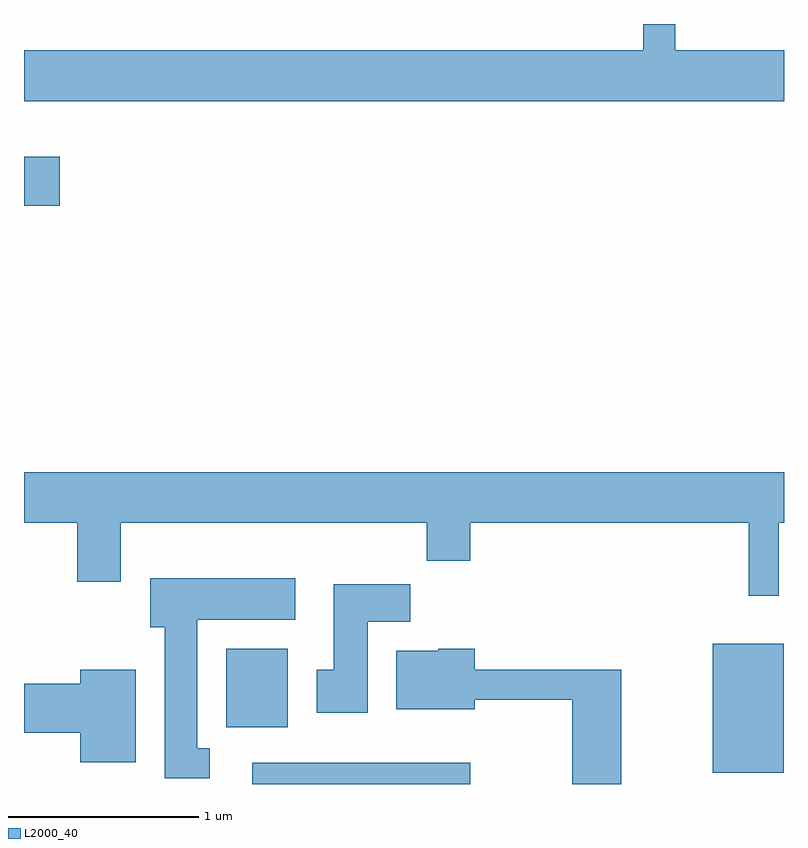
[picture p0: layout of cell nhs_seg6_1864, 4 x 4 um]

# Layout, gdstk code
import gdstk
lib = gdstk.Library(unit=1e-6, precision=1e-09)
def R(c, l, rs):  # rectangles x0, y0, x1, y1
    for r in rs: c.add(gdstk.rectangle(r[:2], r[2:], *l))
def P(c, l, *ps):  # polygons
    for p in ps: c.add(gdstk.Polygon(p, *l))
L2000_40 = (2000, 40)

nhs_seg6_1864 = lib.new_cell('nhs_seg6_1864')
R(nhs_seg6_1864, L2000_40, [(242.811,1604.162,243.959,1604.274), (245.236,1604.221,245.609,1604.899), (242.676,1604.461,242.999,1604.874), (241.611,1607.206,241.799,1607.464)])
P(nhs_seg6_1864, L2000_40, [(245.611,1608.024),(245.039,1608.024),(245.039,1608.162),(244.871,1608.162),(244.871,1608.024),(241.611,1608.024),(241.611,1607.756),(245.611,1607.756)],
  [(241.611,1605.536),(241.891,1605.536),(241.891,1605.226),(242.119,1605.226),(242.119,1605.536),(243.731,1605.536),(243.731,1605.336),(243.959,1605.336),(243.959,1605.536),(245.426,1605.536),(245.426,1605.153),(245.584,1605.153),(245.584,1605.536),(245.611,1605.536),(245.611,1605.804),(241.611,1605.804)],
  [(242.588,1604.349),(242.524,1604.349),(242.524,1605.026),(243.039,1605.026),(243.039,1605.244),(242.276,1605.244),(242.276,1604.986),(242.351,1604.986),(242.351,1604.191),(242.588,1604.191)],
  [(243.419,1605.016),(243.644,1605.016),(243.644,1605.214),(243.241,1605.214),(243.241,1604.764),(243.151,1604.764),(243.151,1604.536),(243.419,1604.536)],
  [(244.754,1604.764),(243.984,1604.764),(243.984,1604.874),(243.79,1604.874),(243.79,1604.864),(243.571,1604.864),(243.571,1604.556),(243.984,1604.556),(243.984,1604.606),(244.496,1604.606),(244.496,1604.162),(244.754,1604.162)],
  [(242.199,1604.764),(241.906,1604.764),(241.906,1604.689),(241.611,1604.689),(241.611,1604.431),(241.906,1604.431),(241.906,1604.276),(242.199,1604.276)])

lib.write_gds('nhs_seg6_1864.gds')
